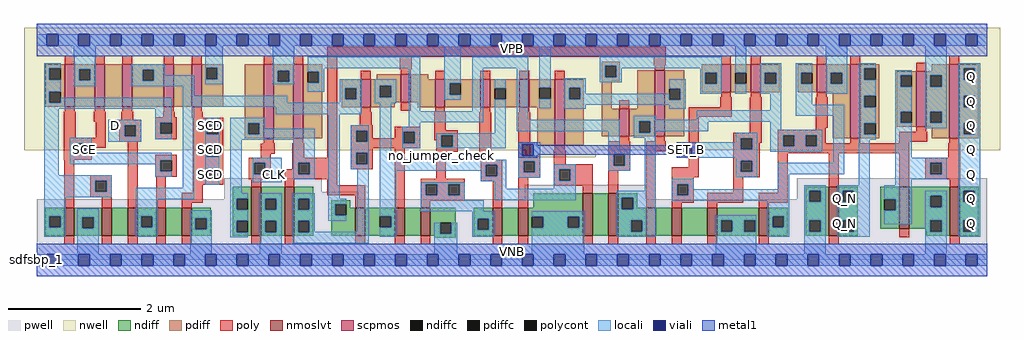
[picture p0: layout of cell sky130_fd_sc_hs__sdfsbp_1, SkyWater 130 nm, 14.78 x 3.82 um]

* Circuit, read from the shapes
.subckt sky130_fd_sc_hs__sdfsbp_1 CLK D SCD SCE SET_B VGND VNB VPB VPWR Q Q_N
XM1 VGND SCE n1 VNB sky130_fd_pr__nfet_01v8_lvt w=0.42 l=0.15
XM2 n2 n1 VGND VNB sky130_fd_pr__nfet_01v8_lvt w=0.42 l=0.15
XM3 n3 D n2 VNB sky130_fd_pr__nfet_01v8_lvt w=0.42 l=0.15
XM4 n4 SCE n3 VNB sky130_fd_pr__nfet_01v8_lvt w=0.42 l=0.15
XM5 VGND SCD n4 VNB sky130_fd_pr__nfet_01v8_lvt w=0.42 l=0.15
XM6 VGND CLK n5 VNB sky130_fd_pr__nfet_01v8_lvt w=0.74 l=0.15
XM7 n6 n5 VGND VNB sky130_fd_pr__nfet_01v8_lvt w=0.74 l=0.15
XM8 n7 n5 n3 VNB sky130_fd_pr__nfet_01v8_lvt w=0.42 l=0.15
XM9 n8 n6 n7 VNB sky130_fd_pr__nfet_01v8_lvt w=0.42 l=0.15
XM10 VGND n9 n8 VNB sky130_fd_pr__nfet_01v8_lvt w=0.42 l=0.15
XM11 n10 n7 n9 VNB sky130_fd_pr__nfet_01v8_lvt w=0.42 l=0.15
XM12 VGND SET_B n10 VNB sky130_fd_pr__nfet_01v8_lvt w=0.42 l=0.15
XM13 n11 n7 VGND VNB sky130_fd_pr__nfet_01v8_lvt w=0.64 l=0.15
XM14 n12 n6 n11 VNB sky130_fd_pr__nfet_01v8_lvt w=0.64 l=0.15
XM15 n13 n5 n12 VNB sky130_fd_pr__nfet_01v8_lvt w=0.42 l=0.15
XM16 n14 n15 n13 VNB sky130_fd_pr__nfet_01v8_lvt w=0.42 l=0.15
XM17 VGND SET_B n14 VNB sky130_fd_pr__nfet_01v8_lvt w=0.42 l=0.15
XM18 n15 n12 VGND VNB sky130_fd_pr__nfet_01v8_lvt w=0.42 l=0.15
XM19 Q_N n12 VGND VNB sky130_fd_pr__nfet_01v8_lvt w=0.74 l=0.15
XM20 VGND n12 n16 VNB sky130_fd_pr__nfet_01v8_lvt w=0.64 l=0.15
XM21 Q n16 VGND VNB sky130_fd_pr__nfet_01v8_lvt w=0.74 l=0.15
XM22 VPWR SCE n1 VPB sky130_fd_pr__pfet_01v8 w=0.64 l=0.15
XM23 n17 SCE VPWR VPB sky130_fd_pr__pfet_01v8 w=0.64 l=0.15
XM24 n3 D n17 VPB sky130_fd_pr__pfet_01v8 w=0.64 l=0.15
XM25 n18 n1 n3 VPB sky130_fd_pr__pfet_01v8 w=0.64 l=0.15
XM26 VPWR SCD n18 VPB sky130_fd_pr__pfet_01v8 w=0.64 l=0.15
XM27 VPWR CLK n5 VPB sky130_fd_pr__pfet_01v8 w=1.12 l=0.15
XM28 n6 n5 VPWR VPB sky130_fd_pr__pfet_01v8 w=1.12 l=0.15
XM29 n7 n6 n3 VPB sky130_fd_pr__pfet_01v8 w=0.42 l=0.15
XM30 n19 n5 n7 VPB sky130_fd_pr__pfet_01v8 w=0.42 l=0.15
XM31 VPWR n9 n19 VPB sky130_fd_pr__pfet_01v8 w=0.42 l=0.15
XM32 n9 n7 VPWR VPB sky130_fd_pr__pfet_01v8 w=0.42 l=0.15
XM33 VPWR SET_B n9 VPB sky130_fd_pr__pfet_01v8 w=0.42 l=0.15
XM34 n20 n7 VPWR VPB sky130_fd_pr__pfet_01v8 w=1 l=0.15
XM35 n12 n6 n21 VPB sky130_fd_pr__pfet_01v8 w=0.42 l=0.15
XM36 n20 n5 n12 VPB sky130_fd_pr__pfet_01v8 w=1 l=0.15
XM37 VPWR n15 n21 VPB sky130_fd_pr__pfet_01v8 w=0.42 l=0.15
XM38 n12 SET_B VPWR VPB sky130_fd_pr__pfet_01v8 w=0.42 l=0.15
XM39 VPWR n12 n15 VPB sky130_fd_pr__pfet_01v8 w=0.42 l=0.15
XM40 Q_N n12 VPWR VPB sky130_fd_pr__pfet_01v8 w=1.12 l=0.15
XM41 VPWR n12 n16 VPB sky130_fd_pr__pfet_01v8 w=0.84 l=0.15
XM42 Q n16 VPWR VPB sky130_fd_pr__pfet_01v8 w=1.12 l=0.15
.ends

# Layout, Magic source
magic
tech sky130A
magscale 1 2
<< nwell >>
rect -38 332 2918 704
rect 1481 311 1694 332
<< pwell >>
rect 568 207 864 248
rect 568 184 976 207
rect 1478 184 1845 228
rect 2303 184 2879 248
rect 1 49 2879 184
rect 0 0 2880 49
<< scpmos >>
rect 86 464 116 592
rect 176 464 206 592
rect 260 464 290 592
rect 386 464 416 592
rect 470 464 500 592
rect 688 368 718 592
rect 778 368 808 592
rect 982 463 1012 547
rect 1103 478 1133 562
rect 1207 463 1237 547
rect 1344 463 1374 547
rect 1462 463 1492 547
rect 1570 347 1600 547
rect 1765 374 1795 458
rect 1873 374 1903 574
rect 2073 508 2103 592
rect 2163 508 2193 592
rect 2363 508 2393 592
rect 2464 368 2494 592
rect 2664 403 2694 571
rect 2765 368 2795 592
<< nmoslvt >>
rect 84 74 114 158
rect 198 74 228 158
rect 276 74 306 158
rect 362 74 392 158
rect 440 74 470 158
rect 651 74 681 222
rect 751 74 781 222
rect 965 74 995 158
rect 1085 74 1115 158
rect 1163 74 1193 158
rect 1381 74 1411 158
rect 1459 74 1489 158
rect 1654 74 1684 202
rect 1732 74 1762 202
rect 1846 74 1876 158
rect 1924 74 1954 158
rect 2032 74 2062 158
rect 2188 74 2218 158
rect 2400 74 2430 222
rect 2613 94 2643 222
rect 2766 74 2796 222
<< ndiff >>
rect 594 186 651 222
rect 27 133 84 158
rect 27 99 39 133
rect 73 99 84 133
rect 27 74 84 99
rect 114 130 198 158
rect 114 96 139 130
rect 173 96 198 130
rect 114 74 198 96
rect 228 74 276 158
rect 306 133 362 158
rect 306 99 317 133
rect 351 99 362 133
rect 306 74 362 99
rect 392 74 440 158
rect 470 127 527 158
rect 470 93 481 127
rect 515 93 527 127
rect 470 74 527 93
rect 594 152 606 186
rect 640 152 651 186
rect 594 118 651 152
rect 594 84 606 118
rect 640 84 651 118
rect 594 74 651 84
rect 681 186 751 222
rect 681 152 692 186
rect 726 152 751 186
rect 681 118 751 152
rect 681 84 692 118
rect 726 84 751 118
rect 681 74 751 84
rect 781 186 838 222
rect 781 152 792 186
rect 826 152 838 186
rect 781 118 838 152
rect 781 84 792 118
rect 826 84 838 118
rect 781 74 838 84
rect 892 169 950 181
rect 892 135 904 169
rect 938 158 950 169
rect 1504 158 1654 202
rect 938 135 965 158
rect 892 74 965 135
rect 995 133 1085 158
rect 995 99 1040 133
rect 1074 99 1085 133
rect 995 74 1085 99
rect 1115 74 1163 158
rect 1193 113 1270 158
rect 1193 79 1222 113
rect 1256 79 1270 113
rect 1193 74 1270 79
rect 1324 125 1381 158
rect 1324 91 1336 125
rect 1370 91 1381 125
rect 1324 74 1381 91
rect 1411 74 1459 158
rect 1489 131 1654 158
rect 1489 97 1500 131
rect 1534 97 1609 131
rect 1643 97 1654 131
rect 1489 74 1654 97
rect 1684 74 1732 202
rect 1762 188 1819 202
rect 1762 154 1773 188
rect 1807 158 1819 188
rect 2329 210 2400 222
rect 2329 176 2341 210
rect 2375 176 2400 210
rect 1807 154 1846 158
rect 1762 120 1846 154
rect 1762 86 1801 120
rect 1835 86 1846 120
rect 1762 74 1846 86
rect 1876 74 1924 158
rect 1954 74 2032 158
rect 2062 120 2188 158
rect 2062 86 2073 120
rect 2107 86 2143 120
rect 2177 86 2188 120
rect 2062 74 2188 86
rect 2218 133 2275 158
rect 2218 99 2229 133
rect 2263 99 2275 133
rect 2218 74 2275 99
rect 2329 120 2400 176
rect 2329 86 2341 120
rect 2375 86 2400 120
rect 2329 74 2400 86
rect 2430 210 2487 222
rect 2430 176 2441 210
rect 2475 176 2487 210
rect 2430 120 2487 176
rect 2430 86 2441 120
rect 2475 86 2487 120
rect 2556 184 2613 222
rect 2556 150 2568 184
rect 2602 150 2613 184
rect 2556 94 2613 150
rect 2643 194 2766 222
rect 2643 160 2707 194
rect 2741 160 2766 194
rect 2643 120 2766 160
rect 2643 94 2707 120
rect 2430 74 2487 86
rect 1208 67 1270 74
rect 2695 86 2707 94
rect 2741 86 2766 120
rect 2695 74 2766 86
rect 2796 210 2853 222
rect 2796 176 2807 210
rect 2841 176 2853 210
rect 2796 120 2853 176
rect 2796 86 2807 120
rect 2841 86 2853 120
rect 2796 74 2853 86
<< pdiff >>
rect 27 580 86 592
rect 27 546 39 580
rect 73 546 86 580
rect 27 510 86 546
rect 27 476 39 510
rect 73 476 86 510
rect 27 464 86 476
rect 116 578 176 592
rect 116 544 129 578
rect 163 544 176 578
rect 116 464 176 544
rect 206 464 260 592
rect 290 576 386 592
rect 290 542 321 576
rect 355 542 386 576
rect 290 464 386 542
rect 416 464 470 592
rect 500 582 565 592
rect 500 548 514 582
rect 548 548 565 582
rect 500 464 565 548
rect 630 414 688 592
rect 630 380 641 414
rect 675 380 688 414
rect 630 368 688 380
rect 718 573 778 592
rect 718 539 731 573
rect 765 539 778 573
rect 718 368 778 539
rect 808 570 865 592
rect 808 536 821 570
rect 855 536 865 570
rect 808 368 865 536
rect 1712 588 1766 600
rect 1030 547 1103 562
rect 925 520 982 547
rect 925 486 935 520
rect 969 486 982 520
rect 925 463 982 486
rect 1012 527 1103 547
rect 1012 493 1040 527
rect 1074 493 1103 527
rect 1012 478 1103 493
rect 1133 547 1186 562
rect 1712 554 1722 588
rect 1756 554 1766 588
rect 1133 478 1207 547
rect 1012 463 1085 478
rect 1154 463 1207 478
rect 1237 535 1344 547
rect 1237 501 1251 535
rect 1285 501 1344 535
rect 1237 463 1344 501
rect 1374 520 1462 547
rect 1374 486 1387 520
rect 1421 486 1462 520
rect 1374 463 1462 486
rect 1492 522 1570 547
rect 1492 488 1523 522
rect 1557 488 1570 522
rect 1492 463 1570 488
rect 1517 347 1570 463
rect 1600 521 1658 547
rect 1600 487 1613 521
rect 1647 487 1658 521
rect 1600 347 1658 487
rect 1712 542 1766 554
rect 1712 458 1742 542
rect 1820 458 1873 574
rect 1712 374 1765 458
rect 1795 420 1873 458
rect 1795 386 1825 420
rect 1859 386 1873 420
rect 1795 374 1873 386
rect 1903 519 1961 574
rect 1903 485 1916 519
rect 1950 485 1961 519
rect 2015 567 2073 592
rect 2015 533 2026 567
rect 2060 533 2073 567
rect 2015 508 2073 533
rect 2103 567 2163 592
rect 2103 533 2116 567
rect 2150 533 2163 567
rect 2103 508 2163 533
rect 2193 567 2251 592
rect 2193 533 2206 567
rect 2240 533 2251 567
rect 2193 508 2251 533
rect 2305 567 2363 592
rect 2305 533 2316 567
rect 2350 533 2363 567
rect 2305 508 2363 533
rect 2393 567 2464 592
rect 2393 533 2406 567
rect 2440 533 2464 567
rect 2393 508 2464 533
rect 1903 374 1961 485
rect 2411 368 2464 508
rect 2494 580 2552 592
rect 2494 546 2507 580
rect 2541 546 2552 580
rect 2712 571 2765 592
rect 2494 497 2552 546
rect 2494 463 2507 497
rect 2541 463 2552 497
rect 2494 414 2552 463
rect 2494 380 2507 414
rect 2541 380 2552 414
rect 2606 559 2664 571
rect 2606 525 2617 559
rect 2651 525 2664 559
rect 2606 449 2664 525
rect 2606 415 2617 449
rect 2651 415 2664 449
rect 2606 403 2664 415
rect 2694 559 2765 571
rect 2694 525 2707 559
rect 2741 525 2765 559
rect 2694 449 2765 525
rect 2694 415 2707 449
rect 2741 415 2765 449
rect 2694 403 2765 415
rect 2494 368 2552 380
rect 2712 368 2765 403
rect 2795 580 2853 592
rect 2795 546 2808 580
rect 2842 546 2853 580
rect 2795 497 2853 546
rect 2795 463 2808 497
rect 2842 463 2853 497
rect 2795 414 2853 463
rect 2795 380 2808 414
rect 2842 380 2853 414
rect 2795 368 2853 380
<< ndiffc >>
rect 39 99 73 133
rect 139 96 173 130
rect 317 99 351 133
rect 481 93 515 127
rect 606 152 640 186
rect 606 84 640 118
rect 692 152 726 186
rect 692 84 726 118
rect 792 152 826 186
rect 792 84 826 118
rect 904 135 938 169
rect 1040 99 1074 133
rect 1222 79 1256 113
rect 1336 91 1370 125
rect 1500 97 1534 131
rect 1609 97 1643 131
rect 1773 154 1807 188
rect 2341 176 2375 210
rect 1801 86 1835 120
rect 2073 86 2107 120
rect 2143 86 2177 120
rect 2229 99 2263 133
rect 2341 86 2375 120
rect 2441 176 2475 210
rect 2441 86 2475 120
rect 2568 150 2602 184
rect 2707 160 2741 194
rect 2707 86 2741 120
rect 2807 176 2841 210
rect 2807 86 2841 120
<< pdiffc >>
rect 39 546 73 580
rect 39 476 73 510
rect 129 544 163 578
rect 321 542 355 576
rect 514 548 548 582
rect 641 380 675 414
rect 731 539 765 573
rect 821 536 855 570
rect 935 486 969 520
rect 1040 493 1074 527
rect 1722 554 1756 588
rect 1251 501 1285 535
rect 1387 486 1421 520
rect 1523 488 1557 522
rect 1613 487 1647 521
rect 1825 386 1859 420
rect 1916 485 1950 519
rect 2026 533 2060 567
rect 2116 533 2150 567
rect 2206 533 2240 567
rect 2316 533 2350 567
rect 2406 533 2440 567
rect 2507 546 2541 580
rect 2507 463 2541 497
rect 2507 380 2541 414
rect 2617 525 2651 559
rect 2617 415 2651 449
rect 2707 525 2741 559
rect 2707 415 2741 449
rect 2808 546 2842 580
rect 2808 463 2842 497
rect 2808 380 2842 414
<< poly >>
rect 86 592 116 618
rect 176 592 206 618
rect 260 592 290 618
rect 386 592 416 618
rect 470 592 500 618
rect 688 592 718 618
rect 778 592 808 618
rect 880 615 1906 645
rect 86 449 116 464
rect 176 449 206 464
rect 260 449 290 464
rect 386 449 416 464
rect 470 449 500 464
rect 83 370 119 449
rect 173 418 209 449
rect 257 424 293 449
rect 383 432 419 449
rect 179 370 209 418
rect 83 354 209 370
rect 251 408 317 424
rect 251 374 267 408
rect 301 374 317 408
rect 251 358 317 374
rect 359 416 425 432
rect 470 430 503 449
rect 359 382 375 416
rect 409 382 425 416
rect 359 366 425 382
rect 473 414 566 430
rect 473 380 516 414
rect 550 380 566 414
rect 83 320 117 354
rect 151 340 209 354
rect 151 320 167 340
rect 83 304 167 320
rect 84 158 114 304
rect 162 240 228 256
rect 162 206 178 240
rect 212 206 228 240
rect 162 190 228 206
rect 198 158 228 190
rect 276 158 306 358
rect 473 346 566 380
rect 688 353 718 368
rect 778 353 808 368
rect 685 352 721 353
rect 359 302 425 318
rect 359 268 375 302
rect 409 268 425 302
rect 359 252 425 268
rect 473 312 516 346
rect 550 312 566 346
rect 473 278 566 312
rect 679 322 721 352
rect 679 310 709 322
rect 362 158 392 252
rect 473 244 516 278
rect 550 244 566 278
rect 643 294 709 310
rect 643 260 659 294
rect 693 260 709 294
rect 775 310 811 353
rect 880 310 910 615
rect 1100 577 1136 615
rect 1870 589 1906 615
rect 2073 592 2103 618
rect 2163 592 2193 618
rect 2363 592 2393 618
rect 2464 592 2494 618
rect 982 547 1012 573
rect 1103 562 1133 577
rect 1207 547 1237 573
rect 1344 547 1374 573
rect 1462 547 1492 573
rect 1570 547 1600 573
rect 1873 574 1903 589
rect 982 448 1012 463
rect 1103 452 1133 478
rect 1207 448 1237 463
rect 1344 448 1374 463
rect 1462 448 1492 463
rect 979 408 1015 448
rect 775 294 910 310
rect 775 274 793 294
rect 643 244 709 260
rect 751 260 793 274
rect 827 260 910 294
rect 952 392 1018 408
rect 952 358 968 392
rect 1002 368 1018 392
rect 1085 388 1162 404
rect 1085 368 1112 388
rect 1002 358 1112 368
rect 952 354 1112 358
rect 1146 354 1162 388
rect 1204 393 1240 448
rect 1204 377 1276 393
rect 1204 363 1226 377
rect 952 338 1162 354
rect 1210 343 1226 363
rect 1260 343 1276 377
rect 952 324 1018 338
rect 952 290 968 324
rect 1002 290 1018 324
rect 952 274 1018 290
rect 751 244 910 260
rect 473 228 566 244
rect 473 203 503 228
rect 651 222 681 244
rect 751 222 781 244
rect 880 226 910 244
rect 440 173 503 203
rect 440 158 470 173
rect 880 196 995 226
rect 965 158 995 196
rect 1085 158 1115 338
rect 1210 327 1276 343
rect 1210 246 1240 327
rect 1341 304 1377 448
rect 1459 315 1495 448
rect 1765 458 1795 484
rect 2073 493 2103 508
rect 2163 493 2193 508
rect 2363 493 2393 508
rect 2070 463 2106 493
rect 1976 433 2106 463
rect 1765 359 1795 374
rect 1873 359 1903 374
rect 1570 332 1600 347
rect 1345 288 1411 304
rect 1345 254 1361 288
rect 1395 254 1411 288
rect 1163 230 1297 246
rect 1345 238 1411 254
rect 1163 196 1179 230
rect 1213 196 1247 230
rect 1281 196 1297 230
rect 1163 180 1297 196
rect 1163 158 1193 180
rect 1381 158 1411 238
rect 1459 299 1525 315
rect 1459 265 1475 299
rect 1509 265 1525 299
rect 1459 249 1525 265
rect 1567 290 1603 332
rect 1732 320 1798 359
rect 1567 274 1684 290
rect 1459 158 1489 249
rect 1567 240 1583 274
rect 1617 240 1684 274
rect 1567 224 1684 240
rect 1654 202 1684 224
rect 1732 286 1748 320
rect 1782 286 1798 320
rect 1732 270 1798 286
rect 1846 329 1906 359
rect 1732 202 1762 270
rect 1846 158 1876 329
rect 1976 281 2006 433
rect 2160 385 2196 493
rect 2360 401 2396 493
rect 2360 394 2390 401
rect 1924 251 2006 281
rect 2110 369 2196 385
rect 2110 335 2133 369
rect 2167 355 2196 369
rect 2245 378 2390 394
rect 2167 335 2190 355
rect 2110 301 2190 335
rect 2110 267 2133 301
rect 2167 267 2190 301
rect 2110 251 2190 267
rect 2245 344 2261 378
rect 2295 344 2329 378
rect 2363 353 2390 378
rect 2664 571 2694 597
rect 2765 592 2795 618
rect 2664 388 2694 403
rect 2464 353 2494 368
rect 2613 358 2697 388
rect 2613 353 2643 358
rect 2765 353 2795 368
rect 2363 344 2643 353
rect 2245 323 2643 344
rect 1924 230 1990 251
rect 1924 196 1940 230
rect 1974 196 1990 230
rect 2110 203 2140 251
rect 2245 203 2275 323
rect 2400 222 2430 323
rect 2613 222 2643 323
rect 2762 310 2798 353
rect 2691 294 2798 310
rect 2691 260 2707 294
rect 2741 260 2798 294
rect 2691 244 2798 260
rect 2766 222 2796 244
rect 1924 173 1990 196
rect 2032 173 2140 203
rect 2188 173 2275 203
rect 1924 158 1954 173
rect 2032 158 2062 173
rect 2188 158 2218 173
rect 84 48 114 74
rect 198 48 228 74
rect 276 48 306 74
rect 362 48 392 74
rect 440 48 470 74
rect 651 48 681 74
rect 751 48 781 74
rect 965 48 995 74
rect 1085 48 1115 74
rect 1163 48 1193 74
rect 1381 48 1411 74
rect 1459 48 1489 74
rect 1654 48 1684 74
rect 1732 48 1762 74
rect 1846 48 1876 74
rect 1924 48 1954 74
rect 2032 48 2062 74
rect 2188 48 2218 74
rect 2400 48 2430 74
rect 2613 68 2643 94
rect 2766 48 2796 74
<< polycont >>
rect 267 374 301 408
rect 375 382 409 416
rect 516 380 550 414
rect 117 320 151 354
rect 178 206 212 240
rect 375 268 409 302
rect 516 312 550 346
rect 516 244 550 278
rect 659 260 693 294
rect 793 260 827 294
rect 968 358 1002 392
rect 1112 354 1146 388
rect 1226 343 1260 377
rect 968 290 1002 324
rect 1361 254 1395 288
rect 1179 196 1213 230
rect 1247 196 1281 230
rect 1475 265 1509 299
rect 1583 240 1617 274
rect 1748 286 1782 320
rect 2133 335 2167 369
rect 2133 267 2167 301
rect 2261 344 2295 378
rect 2329 344 2363 378
rect 1940 196 1974 230
rect 2707 260 2741 294
<< locali >>
rect 0 649 31 683
rect 65 649 127 683
rect 161 649 223 683
rect 257 649 319 683
rect 353 649 415 683
rect 449 649 511 683
rect 545 649 607 683
rect 641 649 703 683
rect 737 649 799 683
rect 833 649 895 683
rect 929 649 991 683
rect 1025 649 1087 683
rect 1121 649 1183 683
rect 1217 649 1279 683
rect 1313 649 1375 683
rect 1409 649 1471 683
rect 1505 649 1567 683
rect 1601 649 1663 683
rect 1697 649 1759 683
rect 1793 649 1855 683
rect 1889 649 1951 683
rect 1985 649 2047 683
rect 2081 649 2143 683
rect 2177 649 2239 683
rect 2273 649 2335 683
rect 2369 649 2431 683
rect 2465 649 2527 683
rect 2561 649 2623 683
rect 2657 649 2719 683
rect 2753 649 2815 683
rect 2849 649 2880 683
rect 23 580 73 596
rect 23 546 39 580
rect 23 510 73 546
rect 113 578 179 649
rect 113 544 129 578
rect 163 544 179 578
rect 113 526 179 544
rect 287 576 389 592
rect 287 542 321 576
rect 355 560 389 576
rect 511 582 564 649
rect 355 542 477 560
rect 287 526 477 542
rect 511 548 514 582
rect 548 548 564 582
rect 511 532 564 548
rect 715 573 781 649
rect 715 539 731 573
rect 765 539 781 573
rect 715 532 781 539
rect 821 581 1162 615
rect 821 570 871 581
rect 855 536 871 570
rect 23 476 39 510
rect 443 498 477 526
rect 821 510 871 536
rect 918 520 985 547
rect 73 476 409 492
rect 23 458 409 476
rect 23 256 67 458
rect 217 408 317 424
rect 217 374 267 408
rect 301 374 317 408
rect 101 354 167 370
rect 217 358 317 374
rect 359 416 409 458
rect 359 382 375 416
rect 359 366 409 382
rect 443 476 759 498
rect 918 486 935 520
rect 969 486 985 520
rect 918 476 985 486
rect 443 464 985 476
rect 1024 527 1090 547
rect 1024 493 1040 527
rect 1074 493 1090 527
rect 1024 474 1090 493
rect 101 320 117 354
rect 151 324 167 354
rect 151 320 409 324
rect 101 302 409 320
rect 101 290 375 302
rect 359 268 375 290
rect 23 240 228 256
rect 359 252 409 268
rect 23 206 178 240
rect 212 206 228 240
rect 443 218 477 464
rect 725 442 985 464
rect 511 414 553 430
rect 511 380 516 414
rect 550 380 553 414
rect 511 346 553 380
rect 511 312 516 346
rect 550 312 553 346
rect 511 278 553 312
rect 511 244 516 278
rect 550 244 553 278
rect 511 228 553 244
rect 587 414 691 430
rect 587 380 641 414
rect 675 398 691 414
rect 675 380 843 398
rect 587 364 843 380
rect 23 190 228 206
rect 23 133 89 190
rect 301 184 477 218
rect 587 202 621 364
rect 655 294 743 310
rect 655 260 659 294
rect 693 260 743 294
rect 655 236 743 260
rect 777 294 843 364
rect 777 260 793 294
rect 827 260 843 294
rect 777 244 843 260
rect 587 186 640 202
rect 23 99 39 133
rect 73 99 89 133
rect 23 70 89 99
rect 123 130 189 156
rect 123 96 139 130
rect 173 96 189 130
rect 123 17 189 96
rect 301 133 367 184
rect 587 152 606 186
rect 301 99 317 133
rect 351 99 367 133
rect 301 70 367 99
rect 465 127 531 150
rect 465 93 481 127
rect 515 93 531 127
rect 465 17 531 93
rect 587 118 640 152
rect 587 84 606 118
rect 587 68 640 84
rect 676 186 742 202
rect 676 152 692 186
rect 726 152 742 186
rect 676 118 742 152
rect 676 84 692 118
rect 726 84 742 118
rect 676 17 742 84
rect 776 186 842 202
rect 776 152 792 186
rect 826 152 842 186
rect 776 118 842 152
rect 884 185 918 442
rect 952 392 1006 408
rect 952 358 968 392
rect 1002 358 1006 392
rect 952 324 1006 358
rect 952 290 968 324
rect 1002 290 1006 324
rect 952 274 1006 290
rect 884 169 938 185
rect 884 135 904 169
rect 884 119 938 135
rect 776 84 792 118
rect 826 85 842 118
rect 972 85 1006 274
rect 826 84 1006 85
rect 776 51 1006 84
rect 1040 304 1074 474
rect 1128 451 1162 581
rect 1235 535 1285 649
rect 1235 501 1251 535
rect 1235 485 1285 501
rect 1319 581 1489 615
rect 1319 451 1353 581
rect 1128 417 1353 451
rect 1387 520 1421 547
rect 1128 404 1162 417
rect 1108 388 1162 404
rect 1108 354 1112 388
rect 1146 354 1162 388
rect 1387 383 1421 486
rect 1455 424 1489 581
rect 1523 522 1557 649
rect 1706 588 2076 615
rect 1706 554 1722 588
rect 1756 581 2076 588
rect 1756 554 1772 581
rect 1523 459 1557 488
rect 1597 521 1663 551
rect 1706 538 1772 554
rect 2010 567 2076 581
rect 1597 487 1613 521
rect 1647 504 1663 521
rect 1916 519 1966 547
rect 1647 487 1916 504
rect 1597 485 1916 487
rect 1950 485 1966 519
rect 2010 533 2026 567
rect 2060 533 2076 567
rect 2010 504 2076 533
rect 2116 567 2150 649
rect 2116 504 2150 533
rect 2190 567 2256 596
rect 2190 533 2206 567
rect 2240 533 2256 567
rect 2190 504 2256 533
rect 1597 470 1966 485
rect 1597 458 1663 470
rect 1916 458 1966 470
rect 2222 453 2256 504
rect 1809 424 1876 436
rect 2000 424 2256 453
rect 2300 567 2350 596
rect 2300 533 2316 567
rect 2300 470 2350 533
rect 2390 567 2456 649
rect 2390 533 2406 567
rect 2440 533 2456 567
rect 2390 504 2456 533
rect 2490 580 2541 596
rect 2490 546 2507 580
rect 2490 497 2541 546
rect 2300 436 2447 470
rect 1455 390 1766 424
rect 1108 338 1162 354
rect 1210 377 1421 383
rect 1210 343 1226 377
rect 1260 343 1421 377
rect 1210 338 1421 343
rect 1459 350 1525 356
rect 1459 316 1471 350
rect 1505 316 1525 350
rect 1040 288 1422 304
rect 1040 270 1361 288
rect 1040 133 1090 270
rect 1345 254 1361 270
rect 1395 254 1422 288
rect 1345 238 1422 254
rect 1459 299 1525 316
rect 1459 265 1475 299
rect 1509 265 1525 299
rect 1732 336 1766 390
rect 1809 420 2256 424
rect 1809 386 1825 420
rect 1859 419 2256 420
rect 1859 390 2034 419
rect 2222 394 2256 419
rect 1859 386 1876 390
rect 1809 370 1876 386
rect 1732 320 1798 336
rect 1459 249 1525 265
rect 1567 274 1633 290
rect 1163 230 1297 236
rect 1163 196 1179 230
rect 1213 196 1247 230
rect 1281 196 1297 230
rect 1163 181 1297 196
rect 1388 215 1422 238
rect 1567 240 1583 274
rect 1617 240 1633 274
rect 1732 286 1748 320
rect 1782 286 1798 320
rect 1732 270 1798 286
rect 1567 215 1633 240
rect 1388 181 1633 215
rect 1842 210 1876 370
rect 2117 369 2183 385
rect 2117 356 2133 369
rect 1945 350 2133 356
rect 1945 316 1951 350
rect 1985 335 2133 350
rect 2167 335 2183 369
rect 1985 316 2183 335
rect 2222 378 2379 394
rect 2222 344 2261 378
rect 2295 344 2329 378
rect 2363 344 2379 378
rect 2222 328 2379 344
rect 1945 310 2183 316
rect 2117 301 2183 310
rect 2117 267 2133 301
rect 2167 267 2183 301
rect 2413 294 2447 436
rect 2117 251 2183 267
rect 2245 260 2447 294
rect 2490 463 2507 497
rect 2490 414 2541 463
rect 2490 380 2507 414
rect 2490 364 2541 380
rect 2601 559 2651 575
rect 2601 525 2617 559
rect 2601 449 2651 525
rect 2601 415 2617 449
rect 1757 188 1876 210
rect 1163 147 1354 181
rect 1757 154 1773 188
rect 1807 154 1876 188
rect 1924 230 1990 246
rect 1924 196 1940 230
rect 1974 214 1990 230
rect 2245 214 2279 260
rect 2490 226 2524 364
rect 2601 310 2651 415
rect 2691 559 2757 649
rect 2691 525 2707 559
rect 2741 525 2757 559
rect 2691 449 2757 525
rect 2691 415 2707 449
rect 2741 415 2757 449
rect 2691 399 2757 415
rect 2791 580 2858 596
rect 2791 546 2808 580
rect 2842 546 2858 580
rect 2791 497 2858 546
rect 2791 463 2808 497
rect 2842 463 2858 497
rect 2791 414 2858 463
rect 2791 380 2808 414
rect 2842 380 2858 414
rect 2601 294 2757 310
rect 2601 260 2707 294
rect 2741 260 2757 294
rect 2601 244 2757 260
rect 2601 226 2651 244
rect 1974 196 2279 214
rect 1924 180 2279 196
rect 1074 99 1090 133
rect 1320 125 1386 147
rect 1040 70 1090 99
rect 1204 79 1222 113
rect 1256 79 1274 113
rect 1204 17 1274 79
rect 1320 91 1336 125
rect 1370 91 1386 125
rect 1320 70 1386 91
rect 1500 131 1659 147
rect 1534 97 1609 131
rect 1643 97 1659 131
rect 1500 17 1659 97
rect 1757 120 1876 154
rect 1757 86 1801 120
rect 1835 86 1876 120
rect 1757 70 1876 86
rect 2057 120 2179 136
rect 2057 86 2073 120
rect 2107 86 2143 120
rect 2177 86 2179 120
rect 2057 17 2179 86
rect 2213 133 2279 180
rect 2213 99 2229 133
rect 2263 99 2279 133
rect 2213 70 2279 99
rect 2325 210 2391 226
rect 2325 176 2341 210
rect 2375 176 2391 210
rect 2325 120 2391 176
rect 2325 86 2341 120
rect 2375 86 2391 120
rect 2325 17 2391 86
rect 2425 210 2524 226
rect 2425 176 2441 210
rect 2475 176 2524 210
rect 2425 120 2524 176
rect 2425 86 2441 120
rect 2475 86 2524 120
rect 2568 184 2651 226
rect 2791 210 2858 380
rect 2602 150 2651 184
rect 2568 108 2651 150
rect 2691 194 2757 210
rect 2691 160 2707 194
rect 2741 160 2757 194
rect 2691 120 2757 160
rect 2425 70 2524 86
rect 2691 86 2707 120
rect 2741 86 2757 120
rect 2691 17 2757 86
rect 2791 176 2807 210
rect 2841 176 2858 210
rect 2791 120 2858 176
rect 2791 86 2807 120
rect 2841 86 2858 120
rect 2791 70 2858 86
rect 0 -17 31 17
rect 65 -17 127 17
rect 161 -17 223 17
rect 257 -17 319 17
rect 353 -17 415 17
rect 449 -17 511 17
rect 545 -17 607 17
rect 641 -17 703 17
rect 737 -17 799 17
rect 833 -17 895 17
rect 929 -17 991 17
rect 1025 -17 1087 17
rect 1121 -17 1183 17
rect 1217 -17 1279 17
rect 1313 -17 1375 17
rect 1409 -17 1471 17
rect 1505 -17 1567 17
rect 1601 -17 1663 17
rect 1697 -17 1759 17
rect 1793 -17 1855 17
rect 1889 -17 1951 17
rect 1985 -17 2047 17
rect 2081 -17 2143 17
rect 2177 -17 2239 17
rect 2273 -17 2335 17
rect 2369 -17 2431 17
rect 2465 -17 2527 17
rect 2561 -17 2623 17
rect 2657 -17 2719 17
rect 2753 -17 2815 17
rect 2849 -17 2880 17
<< viali >>
rect 31 649 65 683
rect 127 649 161 683
rect 223 649 257 683
rect 319 649 353 683
rect 415 649 449 683
rect 511 649 545 683
rect 607 649 641 683
rect 703 649 737 683
rect 799 649 833 683
rect 895 649 929 683
rect 991 649 1025 683
rect 1087 649 1121 683
rect 1183 649 1217 683
rect 1279 649 1313 683
rect 1375 649 1409 683
rect 1471 649 1505 683
rect 1567 649 1601 683
rect 1663 649 1697 683
rect 1759 649 1793 683
rect 1855 649 1889 683
rect 1951 649 1985 683
rect 2047 649 2081 683
rect 2143 649 2177 683
rect 2239 649 2273 683
rect 2335 649 2369 683
rect 2431 649 2465 683
rect 2527 649 2561 683
rect 2623 649 2657 683
rect 2719 649 2753 683
rect 2815 649 2849 683
rect 1471 316 1505 350
rect 1951 316 1985 350
rect 31 -17 65 17
rect 127 -17 161 17
rect 223 -17 257 17
rect 319 -17 353 17
rect 415 -17 449 17
rect 511 -17 545 17
rect 607 -17 641 17
rect 703 -17 737 17
rect 799 -17 833 17
rect 895 -17 929 17
rect 991 -17 1025 17
rect 1087 -17 1121 17
rect 1183 -17 1217 17
rect 1279 -17 1313 17
rect 1375 -17 1409 17
rect 1471 -17 1505 17
rect 1567 -17 1601 17
rect 1663 -17 1697 17
rect 1759 -17 1793 17
rect 1855 -17 1889 17
rect 1951 -17 1985 17
rect 2047 -17 2081 17
rect 2143 -17 2177 17
rect 2239 -17 2273 17
rect 2335 -17 2369 17
rect 2431 -17 2465 17
rect 2527 -17 2561 17
rect 2623 -17 2657 17
rect 2719 -17 2753 17
rect 2815 -17 2849 17
<< metal1 >>
rect 0 683 2880 715
rect 0 649 31 683
rect 65 649 127 683
rect 161 649 223 683
rect 257 649 319 683
rect 353 649 415 683
rect 449 649 511 683
rect 545 649 607 683
rect 641 649 703 683
rect 737 649 799 683
rect 833 649 895 683
rect 929 649 991 683
rect 1025 649 1087 683
rect 1121 649 1183 683
rect 1217 649 1279 683
rect 1313 649 1375 683
rect 1409 649 1471 683
rect 1505 649 1567 683
rect 1601 649 1663 683
rect 1697 649 1759 683
rect 1793 649 1855 683
rect 1889 649 1951 683
rect 1985 649 2047 683
rect 2081 649 2143 683
rect 2177 649 2239 683
rect 2273 649 2335 683
rect 2369 649 2431 683
rect 2465 649 2527 683
rect 2561 649 2623 683
rect 2657 649 2719 683
rect 2753 649 2815 683
rect 2849 649 2880 683
rect 0 617 2880 649
rect 1459 350 1517 356
rect 1459 316 1471 350
rect 1505 347 1517 350
rect 1939 350 1997 356
rect 1939 347 1951 350
rect 1505 319 1951 347
rect 1505 316 1517 319
rect 1459 310 1517 316
rect 1939 316 1951 319
rect 1985 316 1997 350
rect 1939 310 1997 316
rect 0 17 2880 49
rect 0 -17 31 17
rect 65 -17 127 17
rect 161 -17 223 17
rect 257 -17 319 17
rect 353 -17 415 17
rect 449 -17 511 17
rect 545 -17 607 17
rect 641 -17 703 17
rect 737 -17 799 17
rect 833 -17 895 17
rect 929 -17 991 17
rect 1025 -17 1087 17
rect 1121 -17 1183 17
rect 1217 -17 1279 17
rect 1313 -17 1375 17
rect 1409 -17 1471 17
rect 1505 -17 1567 17
rect 1601 -17 1663 17
rect 1697 -17 1759 17
rect 1793 -17 1855 17
rect 1889 -17 1951 17
rect 1985 -17 2047 17
rect 2081 -17 2143 17
rect 2177 -17 2239 17
rect 2273 -17 2335 17
rect 2369 -17 2431 17
rect 2465 -17 2527 17
rect 2561 -17 2623 17
rect 2657 -17 2719 17
rect 2753 -17 2815 17
rect 2849 -17 2880 17
rect 0 -49 2880 -17
<< labels >>
rlabel comment s 0 0 0 0 4 sdfsbp_1
flabel comment s 1226 315 1226 315 0 FreeSans 200 0 0 0 no_jumper_check
flabel comment s 1028 354 1028 354 0 FreeSans 200 0 0 0 no_jumper_check
flabel pwell s 0 0 2880 49 0 FreeSans 200 0 0 0 VNB
port 7 nsew ground bidirectional
flabel nwell s 0 617 2880 666 0 FreeSans 200 0 0 0 VPB
port 8 nsew power bidirectional
flabel metal1 s 1951 316 1985 350 0 FreeSans 340 0 0 0 SET_B
port 5 nsew signal input
flabel metal1 s 0 617 2880 666 0 FreeSans 340 0 0 0 VPWR
port 9 nsew power bidirectional
flabel metal1 s 0 0 2880 49 0 FreeSans 340 0 0 0 VGND
port 6 nsew ground bidirectional
flabel locali s 2815 94 2849 128 0 FreeSans 340 0 0 0 Q
port 10 nsew signal output
flabel locali s 2815 168 2849 202 0 FreeSans 340 0 0 0 Q
port 10 nsew signal output
flabel locali s 2815 242 2849 276 0 FreeSans 340 0 0 0 Q
port 10 nsew signal output
flabel locali s 2815 316 2849 350 0 FreeSans 340 0 0 0 Q
port 10 nsew signal output
flabel locali s 2815 390 2849 424 0 FreeSans 340 0 0 0 Q
port 10 nsew signal output
flabel locali s 2815 464 2849 498 0 FreeSans 340 0 0 0 Q
port 10 nsew signal output
flabel locali s 2815 538 2849 572 0 FreeSans 340 0 0 0 Q
port 10 nsew signal output
flabel locali s 2431 94 2465 128 0 FreeSans 340 0 0 0 Q_N
port 11 nsew signal output
flabel locali s 2431 168 2465 202 0 FreeSans 340 0 0 0 Q_N
port 11 nsew signal output
flabel locali s 511 242 545 276 0 FreeSans 340 0 0 0 SCD
port 3 nsew signal input
flabel locali s 511 316 545 350 0 FreeSans 340 0 0 0 SCD
port 3 nsew signal input
flabel locali s 511 390 545 424 0 FreeSans 340 0 0 0 SCD
port 3 nsew signal input
flabel locali s 703 242 737 276 0 FreeSans 340 0 0 0 CLK
port 1 nsew clock input
flabel locali s 127 316 161 350 0 FreeSans 340 0 0 0 SCE
port 4 nsew signal input
flabel locali s 223 390 257 424 0 FreeSans 340 0 0 0 D
port 2 nsew signal input
<< properties >>
string LEFsite unit
string LEFclass CORE
string FIXED_BBOX 0 0 2880 666
string GDS_FILE $PDKPATH/libs.ref/sky130_fd_sc_hs/gds/sky130_fd_sc_hs.gds
string LEFsymmetry X Y
string GDS_END 3623862
string GDS_START 3602414
<< end >>
